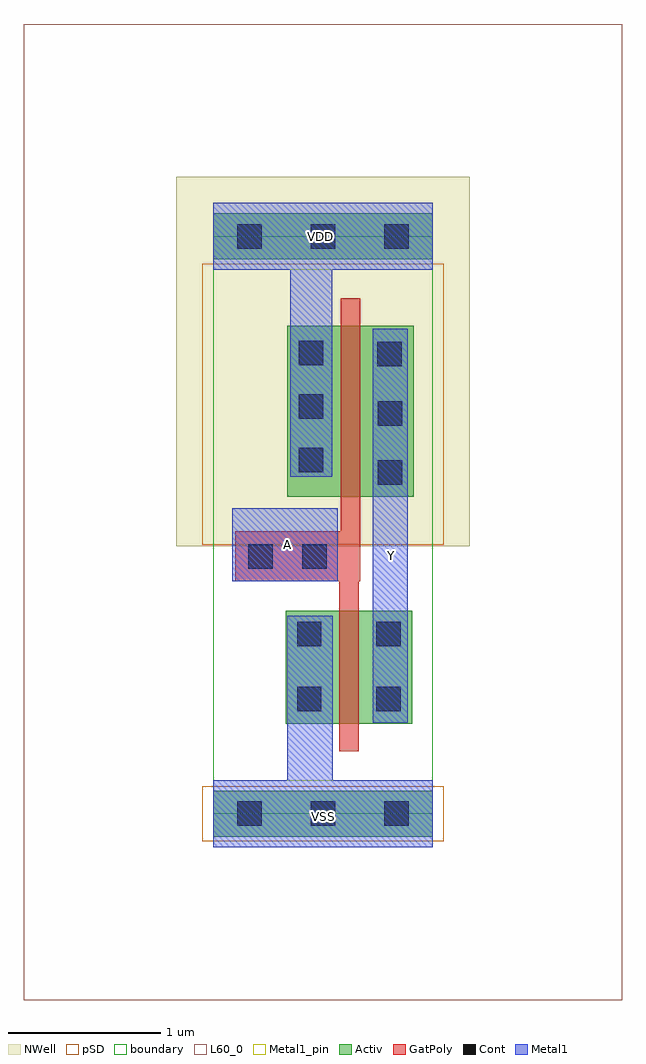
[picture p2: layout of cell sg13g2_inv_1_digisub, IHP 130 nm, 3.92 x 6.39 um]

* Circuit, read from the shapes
.subckt sg13g2_inv_1_digisub A VDD VSS Y
XM1 Y A VSS VSS sg13_lv_nmos w=0.74u l=0.13u
XM2 Y A VDD VDD sg13_lv_pmos w=1.12u l=0.13u
.ends

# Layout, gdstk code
import gdstk
lib = gdstk.Library(unit=1e-6, precision=1e-09)
def R(c, l, rs):  # rectangles x0, y0, x1, y1
    for r in rs: c.add(gdstk.rectangle(r[:2], r[2:], *l))
def A(c, l, x, y, w, h, nx, ny, dx, dy):  # array of equal rectangles
    R(c, l, [(x+i*dx, y+j*dy, x+i*dx+w, y+j*dy+h) for i in range(nx) for j in range(ny)])
def P(c, l, *ps):  # polygons
    for p in ps: c.add(gdstk.Polygon(p, *l))
Activ = (1, 0)
GatPoly = (5, 0)
Cont = (6, 0)
Metal1 = (8, 0)
Metal1_pin = (8, 2)
pSD = (14, 0)
NWell = (31, 0)
L60_0 = (60, 0)
boundary = (189, 4)

sg13g2_inv_1_digisub = lib.new_cell('sg13g2_inv_1_digisub')
R(sg13g2_inv_1_digisub, Activ, [(0,-0.15,1.44,0.15), (0.475,0.59,1.305,1.33), (0.485,2.075,1.315,3.195), (0,3.63,1.44,3.93)])
P(sg13g2_inv_1_digisub, GatPoly, [(0.965,3.375),(0.835,3.375),(0.835,1.85),(0.145,1.85),(0.145,1.52),(0.825,1.52),(0.825,0.41),(0.955,0.41),(0.955,1.52),(0.965,1.52)])
A(sg13g2_inv_1_digisub, Cont, 0.56, 2.235, 0.16, 0.16, 1, 3, 0, 0.35)
R(sg13g2_inv_1_digisub, Cont, [(0.16,-0.08,0.32,0.08), (0.16,-0.08,0.32,0.08), (0.64,-0.08,0.8,0.08), (0.64,-0.08,0.8,0.08), (1.12,-0.08,1.28,0.08), (1.12,-0.08,1.28,0.08), (0.55,0.67,0.71,0.83), (1.07,0.67,1.23,0.83), (0.55,1.095,0.71,1.255), (1.07,1.095,1.23,1.255), (0.23,1.605,0.39,1.765), (0.585,1.605,0.745,1.765), (1.08,2.155,1.24,2.315), (1.08,2.54,1.24,2.7), (1.075,2.93,1.235,3.09), (0.16,3.7,0.32,3.86), (0.16,3.7,0.32,3.86), (0.64,3.7,0.8,3.86), (0.64,3.7,0.8,3.86), (1.12,3.7,1.28,3.86), (1.12,3.7,1.28,3.86)])
R(sg13g2_inv_1_digisub, Metal1, [(1.045,0.595,1.275,3.175), (0.125,1.52,0.815,2)])
P(sg13g2_inv_1_digisub, Metal1, [(0,3.56),(0,4),(1.44,4),(1.44,3.56),(0.78,3.56),(0.78,2.205),(0.505,2.205),(0.505,3.56)],
  [(0,-0.22),(0,0.22),(0.485,0.22),(0.485,1.295),(0.785,1.295),(0.785,0.22),(1.44,0.22),(1.44,-0.22)])
R(sg13g2_inv_1_digisub, Metal1_pin, [(0,-0.22,1.44,0.22), (1.045,0.595,1.275,3.175), (0.125,1.52,0.815,2), (0,3.56,1.44,4)])
R(sg13g2_inv_1_digisub, pSD, [(-0.07,-0.18,1.51,0.18), (-0.07,1.76,1.51,3.6)])
R(sg13g2_inv_1_digisub, NWell, [(-0.24,1.75,1.68,4.17)])
R(sg13g2_inv_1_digisub, L60_0, [(-1.24,-1.22,2.68,5.17)])
R(sg13g2_inv_1_digisub, boundary, [(0,0,1.44,3.78)])
sg13g2_inv_1_digisub.add(gdstk.Label('Y', (1.17,1.69), layer=8, texttype=25))
sg13g2_inv_1_digisub.add(gdstk.Label('A', (0.485,1.76), layer=8, texttype=25))
sg13g2_inv_1_digisub.add(gdstk.Label('VSS', (0.72,-0.02), layer=8, texttype=25))
sg13g2_inv_1_digisub.add(gdstk.Label('VDD', (0.705,3.78), layer=8, texttype=25))

lib.write_gds('sg13g2_inv_1_digisub.gds')
